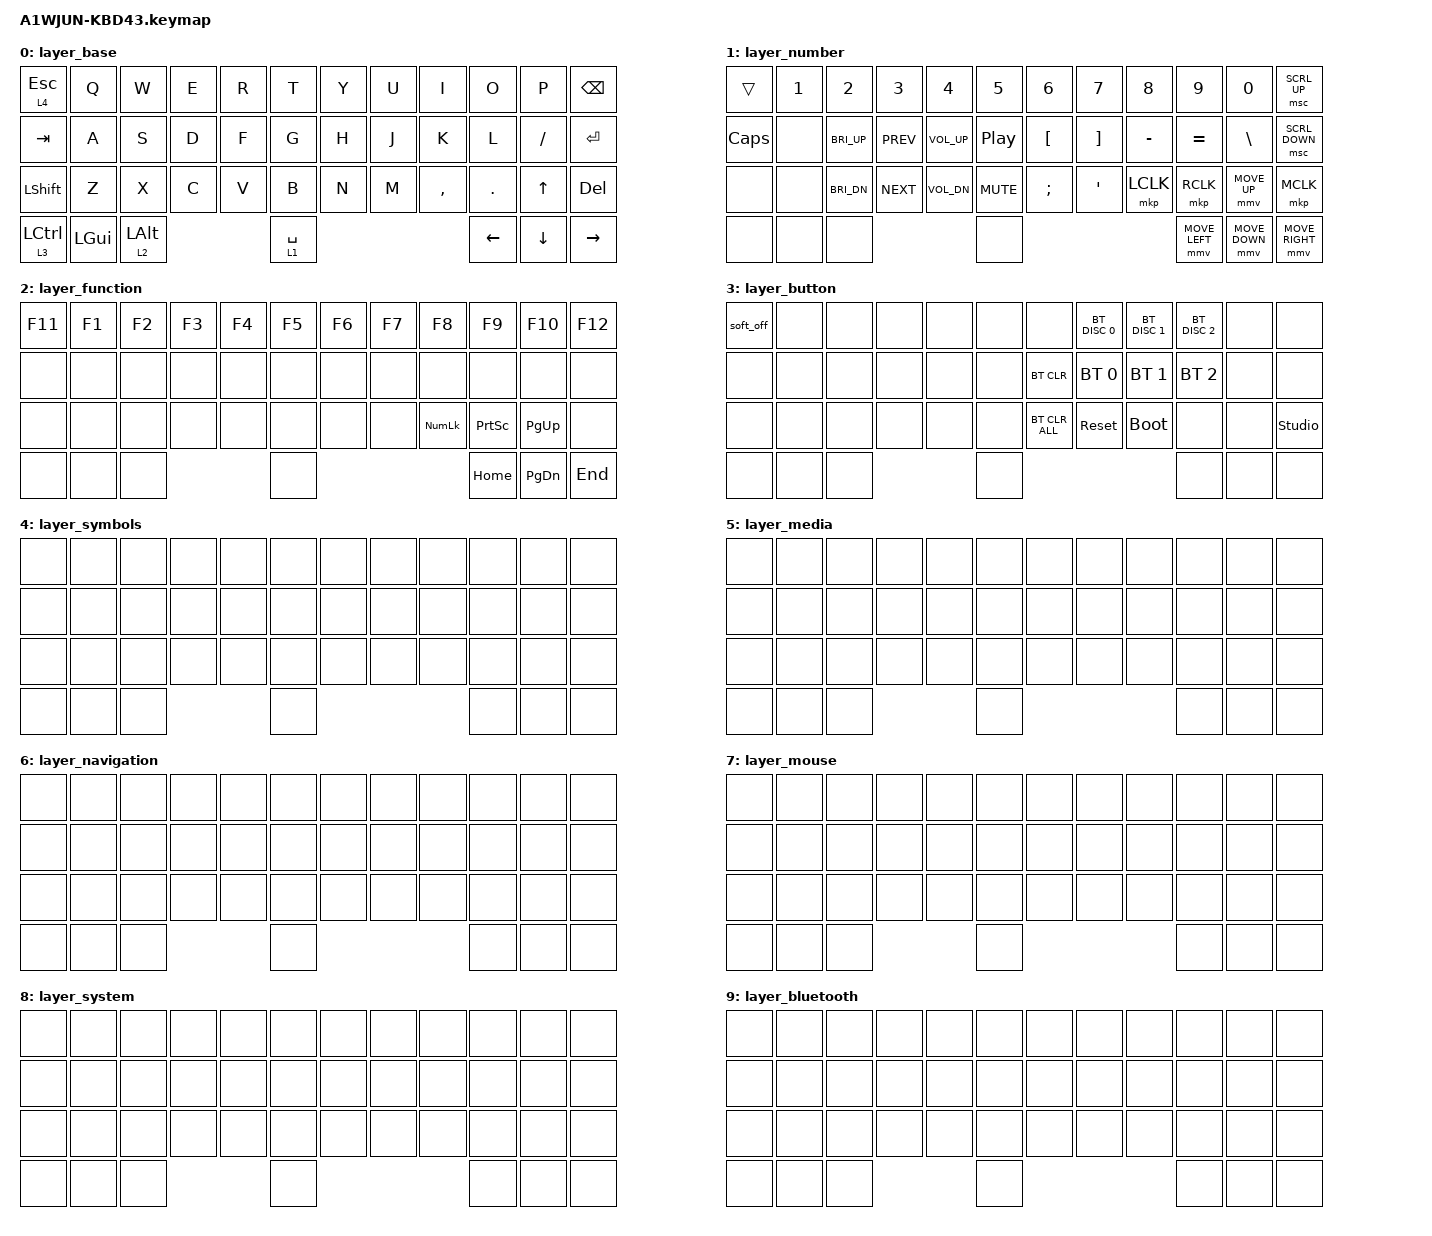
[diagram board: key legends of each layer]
#include <behaviors.dtsi>
#include <dt-bindings/zmk/keys.h>
#include <dt-bindings/zmk/bt.h>
#include <dt-bindings/zmk/outputs.h>
#include <dt-bindings/zmk/mouse.h>
#include <dt-bindings/zmk/behaviors.h>

// 鼠标移动与滚轮的默认速度值（覆盖默认的 600 10）
#undef ZMK_POINTING_DEFAULT_MOVE_VAL
#define ZMK_POINTING_DEFAULT_MOVE_VAL 1500
#undef ZMK_POINTING_DEFAULT_SCRL_VAL
#define ZMK_POINTING_DEFAULT_SCRL_VAL 120

#include <dt-bindings/zmk/pointing.h>

/*
 * 层索引定义（共10层）
 * 
 * 使用 C 预处理器为层定义名称，使键绑定更易读，也便于日后调整层顺序。
 * 层编号从 0 开始，按照在 keymap 节点中定义的顺序排列。
 */
#define Base        0
#define Number      1
#define Function    2
#define Button      3
#define Symbols     4
#define Media       5
#define Navigation  6
#define Mouse       7
#define System      8
#define Bluetooth   9

/ {
    /*
     * ========================================
     * 行为 (Behaviors) 定义
     * ========================================
     * 
     * ZMK 的 "行为" 是可绑定到按键、传感器或层上的动作。
     * 行为可以接收参数来改变其具体表现。
     */

    behaviors {
        /*
         * mod_tap (Mod-Tap 行为)
         * 
         * 按住时输出第一个键码（通常为修饰键），轻触时输出第二个键码。
         * 默认使用 "hold-preferred" 风格：按住超过 200ms 或期间按下其他键时触发 hold 行为。
         * 
         * 官方文档：https://zmk.dev/docs/keymaps/behaviors/hold-tap#mod-tap
         */
        mt: mod_tap {
            compatible = "zmk,behavior-hold-tap";    // 绑定到 ZMK 的 hold-tap 行为驱动
            #binding-cells = <2>;                    // 需要 2 个参数：hold 键码 + tap 键码
            flavor = "hold-preferred";               // hold 优先策略
            tapping-term-ms = <200>;                 // 判定 tap 的最大时间阈值（毫秒）
            bindings = <&kp>, <&kp>;                 // hold 和 tap 都使用按键行为
            display-name = "Mod-Tap";                // ZMK Studio 中显示的名称
        };

        /*
         * layer_tap (Layer-Tap 行为)
         * 
         * 按住时启用指定层，轻触时输出指定按键。
         * 默认使用 "tap-preferred" 风格。
         * 
         * 官方文档：https://zmk.dev/docs/keymaps/behaviors/hold-tap#layer-tap
         */
        lt: layer_tap {
            compatible = "zmk,behavior-hold-tap";    // 绑定到 ZMK 的 hold-tap 行为驱动
            #binding-cells = <2>;                    // 需要 2 个参数：层编号 + tap 键码
            flavor = "tap-preferred";                // tap 优先策略
            tapping-term-ms = <200>;                 // 判定 tap 的最大时间阈值（毫秒）
            bindings = <&mo>, <&kp>;                 // hold 时启用层（&mo），tap 时输出按键（&kp）
            display-name = "Layer-Tap";              // ZMK Studio 中显示的名称
        };
    };
};

/*
 * ========================================
 * 鼠标移动与滚轮加速配置
 * ========================================
 * 
 * 配置鼠标指针移动和滚轮的加速度曲线参数。
 */

// 鼠标移动行为（指针移动）
&mmv {
    x-input-code = <INPUT_REL_X>;          // X 轴相对移动
    y-input-code = <INPUT_REL_Y>;          // Y 轴相对移动
    time-to-max-speed-ms = <300>;          // 达到最大速度的时间（毫秒）
    acceleration-exponent = <1>;           // 加速度指数（1 = 线性加速）
    delay-ms = <0>;                        // 初始延迟（毫秒）
};

// 鼠标滚轮行为
&msc {
    x-input-code = <INPUT_REL_HWHEEL>;     // 水平滚轮
    y-input-code = <INPUT_REL_WHEEL>;      // 垂直滚轮
    time-to-max-speed-ms = <300>;          // 达到最大速度的时间（毫秒）
    acceleration-exponent = <0>;           // 加速度指数（0 = 无加速，恒定速度）
    delay-ms = <0>;                        // 初始延迟（毫秒）
};

// 软关机行为：按住 5000ms 触发
&soft_off {
    hold-time-ms = <5000>;                 // 触发软关机所需的按住时间
};

/ {
    /*
     * ========================================
     * 按键映射 (Keymap)
     * ========================================
     * 
     * keymap 节点本身没有属性，其子节点按顺序对应各层（从层 0 开始）。
     * 每层的 bindings 列表必须按照键盘扫描配置中按键的定义顺序排列。
     * 
     * 官方文档：https://zmk.dev/docs/keymaps
     */
    keymap {
        compatible = "zmk,keymap";           // 标识此为 ZMK 按键映射节点

        /*
         * ========================================
         * 层 0：Base（基础层）
         * ========================================
         * 
         * 默认层（层 0）始终处于启用状态。
         * 这是键盘的主要布局层，包含字母、常用符号和导航键。
         */
        layer_base {
            bindings = <
                // 第 1 行（12 键）
                &lt 4 ESC      &kp Q     &kp W     &kp E     &kp R     &kp T     &kp Y     &kp U     &kp I     &kp O     &kp P      &kp BACKSPACE
                // 第 2 行（12 键）
                &kp TAB      &kp A     &kp S     &kp D     &kp F     &kp G     &kp H     &kp J     &kp K     &kp L     &kp SLASH  &kp ENTER
                // 第 3 行（12 键）
                &kp LSHFT    &kp Z     &kp X     &kp C     &kp V     &kp B     &kp N     &kp M     &kp COMMA &kp DOT   &kp UP     &kp DEL
                // 第 4 行（7 键，含空格和方向键）
                // &lt 3 LCTRL = 按住时切换到层 3，轻触时输出 LCTRL
                &lt 3 LCTRL  &kp LGUI  &lt 2 LALT &lt 1 SPACE &kp LEFT  &kp DOWN  &kp RIGHT
            >;
        };

        /*
         * ========================================
         * 层 1：Number（数字与符号层）
         * ========================================
         * 
         * 通过 Base 层空格键按住时临时激活（&lt 1 SPACE）。
         * 包含数字、媒体控制和鼠标按键。
         */
        layer_number {
            bindings = <
                // 第 1 行：数字行 + 滚轮上滚
                &trans           &kp N1       &kp N2       &kp N3       &kp N4       &kp N5       &kp N6       &kp N7       &kp N8       &kp N9       &kp N0        &msc SCRL_UP
                // 第 2 行：媒体控制 + 符号键 + 滚轮下滚
                &kp CAPS         &none        &kp C_BRI_UP &kp C_PREV   &kp C_VOL_UP &kp C_PP     &kp LBKT     &kp RBKT     &kp MINUS    &kp EQUAL    &kp BSLH      &msc SCRL_DOWN
                // 第 3 行：鼠标按键 + 鼠标移动（上）
                &none           &none        &kp C_BRI_DN &kp C_NEXT   &kp C_VOL_DN &kp C_MUTE   &kp SEMI     &kp APOS     &mkp LCLK    &mkp RCLK    &mmv MOVE_UP  &mkp MCLK
                // 第 4 行：鼠标移动（左、下、右）
                &none           &none        &none        &none        &mmv MOVE_LEFT &mmv MOVE_DOWN &mmv MOVE_RIGHT
            >;
        };

        /*
         * ========================================
         * 层 2：Function（功能键层）
         * ========================================
         * 
         * 通过 Base 层左 Alt 键按住时临时激活（&lt 2 LALT）。
         * 包含 F1-F12 功能键、输出切换和系统功能。
         */
        layer_function {
            bindings = <
                // 第 1 行：F1-F12
                &kp F11          &kp F1       &kp F2       &kp F3       &kp F4       &kp F5       &kp F6       &kp F7       &kp F8       &kp F9       &kp F10       &kp F12
                // 第 2 行：输出切换（USB/BLE）
                &none            &none        &none        &none        &none        &none        &none        &none        &none        &none        &none         &none
                // 第 3 行：小键盘、截屏、翻页
                &none            &none        &none        &none        &none        &none        &none        &none        &kp KP_NUM   &kp PSCRN    &kp PAGE_UP   &none
                // 第 4 行：导航键
                &none            &none        &none        &none        &kp HOME     &kp PAGE_DOWN &kp END
            >;
        };

        /*
         * ========================================
         * 层 3：Button（蓝牙与系统控制层）
         * ========================================
         * 
         * 通过 Base 层左 Ctrl 键按住时临时激活（&lt 3 LCTRL）。
         * 包含蓝牙配对、设备切换、复位和刷机功能。
         */
        layer_button {
            bindings = <
                // 第 1 行：软关机 + 蓝牙断开
                &soft_off        &none        &none        &none        &none        &none        &none        &bt BT_DISC 0 &bt BT_DISC 1 &bt BT_DISC 2 &none         &none
                // 第 2 行：蓝牙清除 + 选择设备
                &none            &none        &none        &none        &none        &none        &bt BT_CLR    &bt BT_SEL 0  &bt BT_SEL 1  &bt BT_SEL 2  &none        &none
                // 第 3 行：清除所有配对、系统复位、进入刷机模式
                &none            &none        &none        &none        &none        &none        &bt BT_CLR_ALL &sys_reset    &bootloader  &none         &none        &studio_unlock
                // 第 4 行
                &none            &none        &none        &none        &none        &none        &none
            >;
        };

        /*
         * ========================================
         * 层 4-9：预留层（占位）
         * ========================================
         * 
         * 这些层当前为空（所有键绑定为 &none），保留用于未来扩展。
         * &none 行为会吞没按键事件，不传递给下层。
         * 
         * 注意：层编号必须连续，不能跳过，否则引用更高层时索引会错位。
         */

        // 层 4：Symbols（符号层）- 预留
        layer_symbols {
            bindings = <
                &none &none &none &none &none &none &none &none &none &none &none &none
                &none &none &none &none &none &none &none &none &none &none &none &none
                &none &none &none &none &none &none &none &none &none &none &none &none
                &none &none &none &none &none &none &none
            >;
        };

        // 层 5：Media（媒体层）- 预留
        layer_media {
            bindings = <
                &none &none &none &none &none &none &none &none &none &none &none &none
                &none &none &none &none &none &none &none &none &none &none &none &none
                &none &none &none &none &none &none &none &none &none &none &none &none
                &none &none &none &none &none &none &none
            >;
        };

        // 层 6：Navigation（导航层）- 预留
        layer_navigation {
            bindings = <
                &none &none &none &none &none &none &none &none &none &none &none &none
                &none &none &none &none &none &none &none &none &none &none &none &none
                &none &none &none &none &none &none &none &none &none &none &none &none
                &none &none &none &none &none &none &none
            >;
        };

        // 层 7：Mouse（鼠标层）- 预留
        layer_mouse {
            bindings = <
                &none &none &none &none &none &none &none &none &none &none &none &none
                &none &none &none &none &none &none &none &none &none &none &none &none
                &none &none &none &none &none &none &none &none &none &none &none &none
                &none &none &none &none &none &none &none
            >;
        };

        // 层 8：System（系统层）- 预留
        layer_system {
            bindings = <
                &none &none &none &none &none &none &none &none &none &none &none &none
                &none &none &none &none &none &none &none &none &none &none &none &none
                &none &none &none &none &none &none &none &none &none &none &none &none
                &none &none &none &none &none &none &none
            >;
        };

        // 层 9：Bluetooth（蓝牙层）- 预留
        layer_bluetooth {
            bindings = <
                &none &none &none &none &none &none &none &none &none &none &none &none
                &none &none &none &none &none &none &none &none &none &none &none &none
                &none &none &none &none &none &none &none &none &none &none &none &none
                &none &none &none &none &none &none &none
            >;
        };
    };

    /*
     * ========================================
     * 组合键 (Combos)
     * ========================================
     * 
     * 组合键允许同时按下多个按键来触发一个不同的行为。
     * combos 节点与 keymap 节点平级，在按键映射之前被处理。
     * 
     * 官方文档：https://zmk.dev/docs/keymaps/combos
     */
    combos {
        compatible = "zmk,combos";           // 标识此为 ZMK 组合键配置节点

        /*
         * 组合键：ESC
         * 同时按下位置 1 和 2 的按键触发 ESC
         */
        combo_esc {
            timeout-ms = <50>;               // 触发组合键的最大时间窗口（毫秒）
            key-positions = <1 2>;           // 参与组合的按键位置（从 0 开始编号）
            bindings = <&kp ESC>;            // 触发的行为
            layers = <0>;                    // 仅在 Base 层生效
        };

        /*
         * 组合键：全选 (Ctrl+A)
         * 同时按下位置 12 和 13 的按键触发
         */
        combo_select_all {
            timeout-ms = <50>;
            key-positions = <12 13>;
            bindings = <&kp LC(A)>;          // LC(A) = 左 Ctrl + A
            layers = <0>;
        };

        /*
         * 组合键：撤销 (Ctrl+Z)
         * 同时按下位置 24 和 25 的按键触发
         */
        combo_undo {
            timeout-ms = <50>;
            key-positions = <24 25>;
            bindings = <&kp LC(Z)>;
            layers = <0>;
        };

        /*
         * 组合键：剪切 (Ctrl+X)
         * 同时按下位置 25 和 26 的按键触发
         */
        combo_cut {
            timeout-ms = <50>;
            key-positions = <25 26>;
            bindings = <&kp LC(X)>;
            layers = <0>;
        };

        /*
         * 组合键：复制 (Ctrl+C)
         * 同时按下位置 26 和 27 的按键触发
         */
        combo_copy {
            timeout-ms = <50>;
            key-positions = <26 27>;
            bindings = <&kp LC(C)>;
            layers = <0>;
        };

        /*
         * 组合键：粘贴 (Ctrl+V)
         * 同时按下位置 27 和 28 的按键触发
         */
        combo_paste {
            timeout-ms = <50>;
            key-positions = <27 28>;
            bindings = <&kp LC(V)>;
            layers = <0>;
        };

        /*
         * 组合键：重做 (Ctrl+Y)
         * 同时按下位置 28 和 29 的按键触发
         */
        combo_redo {
            timeout-ms = <50>;
            key-positions = <28 29>;
            bindings = <&kp LC(Y)>;
            layers = <0>;
        };

        /*
         * 组合键：截图 (Alt+A)
         * 同时按下位置 29 和 30 的按键触发
         */
        combo_lalt_a {
            timeout-ms = <50>;
            key-positions = <29 30>;
            bindings = <&kp LA(A)>;
            layers = <0>;
        };
        
    };
};
